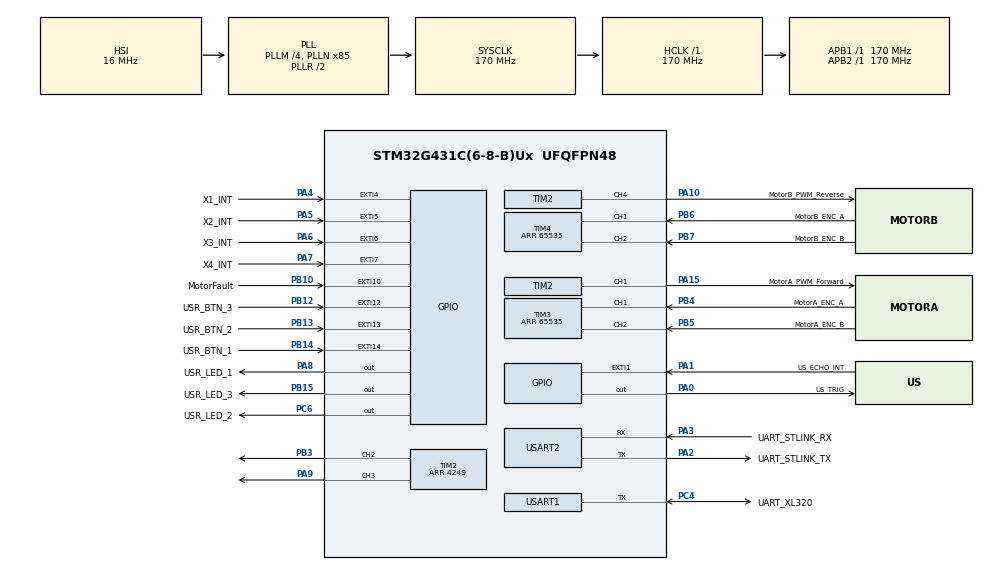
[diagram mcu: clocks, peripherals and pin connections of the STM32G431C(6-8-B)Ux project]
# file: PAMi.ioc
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Mcu.Family=STM32G4
Mcu.Name=STM32G431C(6-8-B)Ux
Mcu.Package=UFQFPN48
NVIC.PriorityGroup=NVIC_PRIORITYGROUP_4
NVIC.TIM6_DAC_IRQn=true\:0\:0\:false\:false\:true\:true\:true\:true
PA0.GPIO_Label=US_TRIG
PA0.Signal=GPIO_Output
PA1.GPIO_Label=US_ECHO_INT
PA1.Signal=GPXTI1
PA10.GPIO_Label=MotorB_PWM_Reverse
PA10.Signal=S_TIM2_CH4
PA13.Mode=Serial_Wire
PA13.Signal=SYS_JTMS-SWDIO
PA14.Mode=Serial_Wire
PA14.Signal=SYS_JTCK-SWCLK
PA15.GPIO_Label=MotorA_PWM_Forward
PA15.Signal=S_TIM2_CH1
PA2.GPIO_Label=UART_STLINK_TX
PA2.Mode=Asynchronous
PA2.Signal=USART2_TX
PA3.GPIO_Label=UART_STLINK_RX
PA3.Mode=Asynchronous
PA3.Signal=USART2_RX
PA4.GPIO_Label=X1_INT
PA4.Signal=GPXTI4
PA5.GPIO_Label=X2_INT
PA5.Signal=GPXTI5
PA6.GPIO_Label=X3_INT
PA6.Signal=GPXTI6
PA7.GPIO_Label=X4_INT
PA7.Signal=GPXTI7
PA8.GPIO_Label=USR_LED_1
PA8.Signal=GPIO_Output
PA9.Signal=S_TIM2_CH3
PB10.GPIO_Label=MotorFault
PB10.Signal=GPXTI10
PB12.GPIO_Label=USR_BTN_3
PB12.Signal=GPXTI12
PB13.GPIO_Label=USR_BTN_2
PB13.Signal=GPXTI13
PB14.GPIO_Label=USR_BTN_1
PB14.Signal=GPXTI14
PB15.GPIO_Label=USR_LED_3
PB15.Signal=GPIO_Output
PB3.Signal=S_TIM2_CH2
PB4.GPIO_Label=MotorA_ENC_A
PB4.Signal=S_TIM3_CH1
PB5.GPIO_Label=MotorA_ENC_B
PB5.Signal=S_TIM3_CH2
PB6.GPIO_Label=MotorB_ENC_A
PB6.Signal=S_TIM4_CH1
PB7.GPIO_Label=MotorB_ENC_B
PB7.Signal=S_TIM4_CH2
PC4.GPIO_Label=UART_XL320
PC4.Mode=Half_duplex(single_wire_mode)
PC4.Signal=USART1_TX
PC6.GPIO_Label=USR_LED_2
PC6.Signal=GPIO_Output
ProjectManager.HeapSize=0x200
ProjectManager.StackSize=0x400
ProjectManager.TargetToolchain=STM32CubeIDE
RCC.ADC12Freq_Value=170000000
RCC.AHBFreq_Value=170000000
RCC.APB1Freq_Value=170000000
RCC.APB1TimFreq_Value=170000000
RCC.APB2Freq_Value=170000000
RCC.APB2TimFreq_Value=170000000
RCC.CortexFreq_Value=170000000
RCC.EXTERNAL_CLOCK_VALUE=12288000
RCC.HCLKFreq_Value=170000000
RCC.HSE_VALUE=8000000
RCC.HSI48_VALUE=48000000
RCC.HSI_VALUE=16000000
RCC.LSE_VALUE=32768
RCC.PLLM=RCC_PLLM_DIV4
RCC.PLLN=85
RCC.SYSCLKFreq_VALUE=170000000
RCC.SYSCLKSource=RCC_SYSCLKSOURCE_PLLCLK
RCC.USBFreq_Value=170000000
RCC.VCOOutputFreq_Value=340000000
SH.S_TIM2_CH1.0=TIM2_CH1,PWM Generation1 CH1
SH.S_TIM2_CH2.0=TIM2_CH2,PWM Generation2 CH2
SH.S_TIM2_CH3.0=TIM2_CH3,PWM Generation3 CH3
SH.S_TIM2_CH4.0=TIM2_CH4,PWM Generation4 CH4
SH.S_TIM3_CH1.0=TIM3_CH1,Encoder_Interface
SH.S_TIM3_CH2.0=TIM3_CH2,Encoder_Interface
SH.S_TIM4_CH1.0=TIM4_CH1,Encoder_Interface
SH.S_TIM4_CH2.0=TIM4_CH2,Encoder_Interface
TIM2.Channel-PWM\ Generation1\ CH1=TIM_CHANNEL_1
TIM2.Channel-PWM\ Generation2\ CH2=TIM_CHANNEL_2
TIM2.Channel-PWM\ Generation3\ CH3=TIM_CHANNEL_3
TIM2.Channel-PWM\ Generation4\ CH4=TIM_CHANNEL_4
TIM2.PeriodNoDither=4249
TIM3.EncoderMode=TIM_ENCODERMODE_TI12
TIM3.PeriodNoDither=65535
TIM4.EncoderMode=TIM_ENCODERMODE_TI12
TIM4.PeriodNoDither=65535
TIM6.PeriodNoDither=999
TIM6.Prescaler=169
USART1.VirtualMode-Half_duplex(single_wire_mode)=VM_ASYNC
USART2.VirtualMode-Asynchronous=VM_ASYNC
VP_SYS_VS_DBSignals.Mode=DisableDeadBatterySignals
VP_TIM6_VS_ClockSourceINT.Mode=Enable_Timer
board=custom

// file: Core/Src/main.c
/* USER CODE BEGIN Header */
/**
  ******************************************************************************
  * @file           : main.c
  * @brief          : Main program body
  ******************************************************************************
  * @attention
  *
  * Copyright (c) 2026 STMicroelectronics.
  * All rights reserved.
  *
  * This software is licensed under terms that can be found in the LICENSE file
  * in the root directory of this software component.
  * If no LICENSE file comes with this software, it is provided AS-IS.
  *
  ******************************************************************************
  */
/* USER CODE END Header */
#include "main.h"
#include "tim.h"
#include "usart.h"
#include "gpio.h"

/* USER CODE BEGIN Includes */
#include "mouvement.h"
#include <stdio.h>
/* USER CODE END Includes */

/* USER CODE BEGIN PTD */
typedef enum {
    INIT,
    AVANCER_1,
    TOURNER_DROITE,
    AVANCER_2,
    TOURNER_GAUCHE,
    AVANCER_3,
    FIN
} SEQUENCE_ETAT;

SEQUENCE_ETAT etape_actuelle = INIT;
/* USER CODE END PTD */

/* USER CODE BEGIN PD */
#define TICKS_PAR_TOUR 1430
#define RAYON_ROUE 1.5f
#define COUNT_PAR_TICK 1
#define KP 3.0f
#define KI 0.1f
#define DISTANCE_ROUE 8.7f
/* USER CODE END PD */

/* USER CODE BEGIN PV */

MOTOR motor_g, motor_d;
ENCODER encoder_g, encoder_d;
ASSERVISSEMENT asser_d,asser_g;
MVTCTRL mvt;

extern TIM_HandleTypeDef htim1;
extern TIM_HandleTypeDef htim2;
extern TIM_HandleTypeDef htim3;
extern TIM_HandleTypeDef htim4;
extern TIM_HandleTypeDef htim6;

int v=0;
/* USER CODE END PV */

void SystemClock_Config(void);

/* USER CODE BEGIN 0 */
int __io_putchar(int ch){
	HAL_UART_Transmit(&huart2, (uint8_t *)&ch, 1, HAL_MAX_DELAY);
	return ch;
}

/* USER CODE END 0 */

int main(void)
{

  /* MCU Configuration--------------------------------------------------------*/

  /* Reset of all peripherals, Initializes the Flash interface and the Systick. */
  HAL_Init();

  /* Configure the system clock */
  SystemClock_Config();

  /* Initialize all configured peripherals */
  MX_GPIO_Init();
  MX_USART1_UART_Init();
  MX_TIM4_Init();
  MX_TIM2_Init();
  MX_TIM3_Init();
  MX_USART2_UART_Init();
  MX_TIM6_Init();
  /* USER CODE BEGIN 2 */

  motor_init(&motor_g, &htim2, TIM_CHANNEL_1, TIM_CHANNEL_2,4142);
  motor_init(&motor_d, &htim2, TIM_CHANNEL_3, TIM_CHANNEL_4,4142);
  encoder_init(&encoder_g, &htim3, TICKS_PAR_TOUR,COUNT_PAR_TICK);
  encoder_init(&encoder_d, &htim4, TICKS_PAR_TOUR,COUNT_PAR_TICK);
  move_init(&mvt,&encoder_g,DISTANCE_ROUE,RAYON_ROUE);
  asser_init(&asser_d, KP, KI);
  asser_init(&asser_g, KP, KI);

  HAL_TIM_Base_Start_IT(&htim6);

  /* USER CODE END 2 */

  /* Infinite loop */
  /* USER CODE BEGIN WHILE */

while(1){
	switch (etape_actuelle) {

		case INIT:
			HAL_Delay(2000);
			etape_actuelle = AVANCER_1;
			break;

		case AVANCER_1:
			avancer(&mvt, &encoder_g, 20.0f, 20.0f);
			etape_actuelle = TOURNER_DROITE;
			break;

		case TOURNER_DROITE:
			if (mvt.etat == STOP) {
				HAL_Delay(500);
				tourner(&mvt, &encoder_g, -M_PI-M_PI/2, 10.0f);
				etape_actuelle = AVANCER_2;
			}
			break;

		case AVANCER_2:
			if (mvt.etat == STOP) {
				HAL_Delay(500);
				avancer(&mvt, &encoder_g, 10.0f, 20.0f);
				etape_actuelle = TOURNER_GAUCHE;
			}
			break;

		case TOURNER_GAUCHE:
			if (mvt.etat == STOP) {
				HAL_Delay(500);
				tourner(&mvt, &encoder_g, -M_PI/2, 10.0f);
				etape_actuelle = AVANCER_3;
			}
			break;

		case AVANCER_3:
			if (mvt.etat == STOP) {
				HAL_Delay(500);
				avancer(&mvt, &encoder_g, 10.0f, 20.0f);
				etape_actuelle = FIN;
			}
			break;

		case FIN:
			if (mvt.etat == STOP) {

			}
			break;
	    }

    /* USER CODE END WHILE */

  }
}

void SystemClock_Config(void)
{
  RCC_OscInitTypeDef RCC_OscInitStruct = {0};
  RCC_ClkInitTypeDef RCC_ClkInitStruct = {0};

  /** Configure the main internal regulator output voltage
  */
  HAL_PWREx_ControlVoltageScaling(PWR_REGULATOR_VOLTAGE_SCALE1_BOOST);

  /** Initializes the RCC Oscillators according to the specified parameters
  * in the RCC_OscInitTypeDef structure.
  */
  RCC_OscInitStruct.OscillatorType = RCC_OSCILLATORTYPE_HSI;
  RCC_OscInitStruct.HSIState = RCC_HSI_ON;
  RCC_OscInitStruct.HSICalibrationValue = RCC_HSICALIBRATION_DEFAULT;
  RCC_OscInitStruct.PLL.PLLState = RCC_PLL_ON;
  RCC_OscInitStruct.PLL.PLLSource = RCC_PLLSOURCE_HSI;
  RCC_OscInitStruct.PLL.PLLM = RCC_PLLM_DIV4;
  RCC_OscInitStruct.PLL.PLLN = 85;
  RCC_OscInitStruct.PLL.PLLP = RCC_PLLP_DIV2;
  RCC_OscInitStruct.PLL.PLLQ = RCC_PLLQ_DIV2;
  RCC_OscInitStruct.PLL.PLLR = RCC_PLLR_DIV2;
  if (HAL_RCC_OscConfig(&RCC_OscInitStruct) != HAL_OK)
  {
    Error_Handler();
  }

  /** Initializes the CPU, AHB and APB buses clocks
  */
  RCC_ClkInitStruct.ClockType = RCC_CLOCKTYPE_HCLK|RCC_CLOCKTYPE_SYSCLK
                              |RCC_CLOCKTYPE_PCLK1|RCC_CLOCKTYPE_PCLK2;
  RCC_ClkInitStruct.SYSCLKSource = RCC_SYSCLKSOURCE_PLLCLK;
  RCC_ClkInitStruct.AHBCLKDivider = RCC_SYSCLK_DIV1;
  RCC_ClkInitStruct.APB1CLKDivider = RCC_HCLK_DIV1;
  RCC_ClkInitStruct.APB2CLKDivider = RCC_HCLK_DIV1;

  if (HAL_RCC_ClockConfig(&RCC_ClkInitStruct, FLASH_LATENCY_4) != HAL_OK)
  {
    Error_Handler();
  }
}

void Error_Handler(void)
{
  __disable_irq();
  while (1)
  {
  }
}
